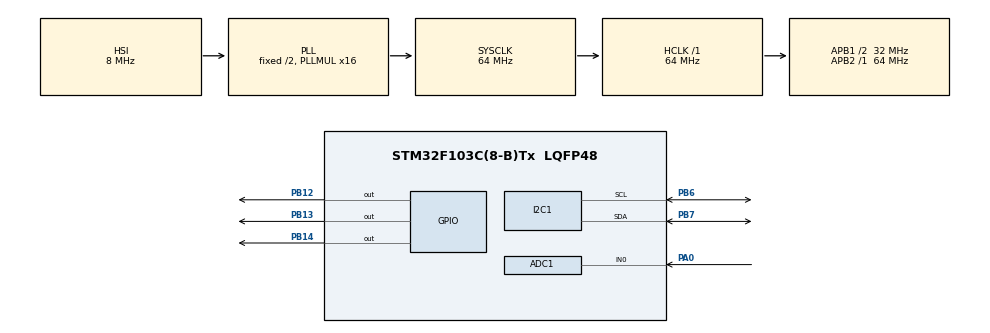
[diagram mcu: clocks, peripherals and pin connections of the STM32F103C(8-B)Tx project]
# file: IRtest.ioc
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ADC1.Channel-1\#ChannelRegularConversion=ADC_CHANNEL_0
ADC1.NbrOfConversionFlag=1
ADC1.Rank-1\#ChannelRegularConversion=1
ADC1.SamplingTime-1\#ChannelRegularConversion=ADC_SAMPLETIME_239CYCLES_5
ADC1.master=1
Mcu.Family=STM32F1
Mcu.Name=STM32F103C(8-B)Tx
Mcu.Package=LQFP48
NVIC.PriorityGroup=NVIC_PRIORITYGROUP_4
PA0-WKUP.Signal=ADCx_IN0
PA13.Mode=Serial_Wire
PA13.Signal=SYS_JTMS-SWDIO
PA14.Mode=Serial_Wire
PA14.Signal=SYS_JTCK-SWCLK
PB12.Signal=GPIO_Output
PB13.Signal=GPIO_Output
PB14.Signal=GPIO_Output
PB6.Mode=I2C
PB6.Signal=I2C1_SCL
PB7.Mode=I2C
PB7.Signal=I2C1_SDA
ProjectManager.HeapSize=0x200
ProjectManager.StackSize=0x400
ProjectManager.TargetToolchain=MDK-ARM V5.32
RCC.ADCPresc=RCC_ADCPCLK2_DIV6
RCC.AHBFreq_Value=64000000
RCC.APB1CLKDivider=RCC_HCLK_DIV2
RCC.APB1Freq_Value=32000000
RCC.APB1TimFreq_Value=64000000
RCC.APB2Freq_Value=64000000
RCC.APB2TimFreq_Value=64000000
RCC.HCLKFreq_Value=64000000
RCC.PLLMUL=RCC_PLL_MUL16
RCC.SYSCLKFreq_VALUE=64000000
RCC.SYSCLKSource=RCC_SYSCLKSOURCE_PLLCLK
RCC.USBFreq_Value=64000000
SH.ADCx_IN0.0=ADC1_IN0,IN0
board=custom

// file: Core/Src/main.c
/* USER CODE BEGIN Header */
/**
  ******************************************************************************
  * @file           : main.c
  * @brief          : Main program body
  ******************************************************************************
  * @attention
  * Copyright (c) 2025 STMicroelectronics.
  * All rights reserved.
  * This software is licensed under terms in the LICENSE file
  * in the root directory of this software component.
  * If no LICENSE file comes with this software, it is provided AS-IS.
  ******************************************************************************
  */
/* USER CODE END Header */
#include "main.h"

/* USER CODE BEGIN Includes */
#include <string.h>
#include "liquidcrystal_i2c.h"   // <-- use your added driver
/* USER CODE END Includes */

/* USER CODE BEGIN PTD */
typedef enum { BAND_LONG = 0, BAND_MID, BAND_SHORT } DistanceBand;
/* USER CODE END PTD */

/* USER CODE BEGIN PD */
// -------- LED pins --------
#define LED_GREEN_PIN   GPIO_PIN_12
#define LED_YELLOW_PIN  GPIO_PIN_13
#define LED_RED_PIN     GPIO_PIN_14
#define LED_PORT        GPIOB

// -------- Moving average --------
#define SAMPLES 16

// -------- Thresholds (replace with your measured ADC counts) --------
// Example placeholders (12-bit ADC: 0..4095)
static uint16_t ADC_25CM = 900;     // ~25 cm (far)   -> LONG
static uint16_t ADC_10CM = 1800;    // ~10 cm         -> MID
static uint16_t ADC_5CM  = 2600;    // ~5  cm         -> SHORT (and closer)

// Small band hysteresis to reduce bouncing around boundaries
#define HYST 40
/* USER CODE END PD */

/* USER CODE BEGIN PM */
static inline void set_leds(uint8_t g, uint8_t y, uint8_t r) {
  HAL_GPIO_WritePin(LED_PORT, LED_GREEN_PIN,  g ? GPIO_PIN_SET : GPIO_PIN_RESET);
  HAL_GPIO_WritePin(LED_PORT, LED_YELLOW_PIN, y ? GPIO_PIN_SET : GPIO_PIN_RESET);
  HAL_GPIO_WritePin(LED_PORT, LED_RED_PIN,    r ? GPIO_PIN_SET : GPIO_PIN_RESET);
}
/* USER CODE END PM */

ADC_HandleTypeDef hadc1;
I2C_HandleTypeDef hi2c1;

/* USER CODE BEGIN PV */
static DistanceBand prev_band = (DistanceBand)(-1);  // force first update
/* USER CODE END PV */

void SystemClock_Config(void);
static void MX_GPIO_Init(void);
static void MX_ADC1_Init(void);
static void MX_I2C1_Init(void);
/* USER CODE BEGIN PFP */
static uint16_t ReadADC1_PA0(void);
static uint16_t moving_avg(void);
static DistanceBand decide_band(uint16_t adc, DistanceBand last);
/* USER CODE END PFP */

/* USER CODE BEGIN 0 */
static uint16_t ReadADC1_PA0(void) {
  HAL_ADC_Start(&hadc1);
  if (HAL_ADC_PollForConversion(&hadc1, 10) == HAL_OK) {
    uint16_t v = (uint16_t)HAL_ADC_GetValue(&hadc1);
    HAL_ADC_Stop(&hadc1);
    return v;
  }
  HAL_ADC_Stop(&hadc1);
  return 0;
}

static uint16_t moving_avg(void) {
  uint32_t sum = 0;
  for (int i = 0; i < SAMPLES; i++) sum += ReadADC1_PA0();
  return (uint16_t)(sum / SAMPLES);
}

// Add light hysteresis so the label/LEDs don’t chatter near thresholds
static DistanceBand decide_band(uint16_t adc, DistanceBand last) {
  // lower ADC ˜ farther
  switch (last) {
    case BAND_LONG:
      if (adc >= (ADC_25CM + HYST)) return BAND_MID;
      return BAND_LONG;
    case BAND_MID:
      if (adc <  (ADC_25CM - HYST)) return BAND_LONG;
      if (adc >= (ADC_10CM + HYST)) return BAND_SHORT;
      return BAND_MID;
    case BAND_SHORT:
    default:
      if (adc < (ADC_10CM - HYST)) return BAND_MID;
      return BAND_SHORT;
  }
}
/* USER CODE END 0 */

int main(void)
{
  HAL_Init();
  SystemClock_Config();
  MX_GPIO_Init();
  MX_ADC1_Init();
  MX_I2C1_Init();

  /* USER CODE BEGIN 2 */
  HAL_ADCEx_Calibration_Start(&hadc1);

  // LCD init: your driver takes rows count
  HD44780_Init(2);
  HD44780_Clear();
  HD44780_SetCursor(0,0); HD44780_PrintStr("IR Distance");
  HD44780_SetCursor(0,1); HD44780_PrintStr("Starting...");
  set_leds(1,1,1); HAL_Delay(400); set_leds(0,0,0);
  /* USER CODE END 2 */

  /* Infinite loop */
  while (1)
  {
    uint16_t adc = moving_avg();
    DistanceBand band = decide_band(adc, prev_band);

    if (band != prev_band) {
      prev_band = band;

      // Update LEDs
      if (band == BAND_LONG)      set_leds(1,0,0);
      else if (band == BAND_MID)  set_leds(0,1,0);
      else                        set_leds(0,0,1);

      // Update LCD (only when band changes to avoid flicker)
      HD44780_Clear();
      HD44780_SetCursor(0,0); HD44780_PrintStr("Distance:");
      HD44780_SetCursor(0,1);
      if (band == BAND_LONG)      HD44780_PrintStr("LONG   (>25cm)");
      else if (band == BAND_MID)  HD44780_PrintStr("MID  (10-25cm)");
      else                        HD44780_PrintStr("SHORT (<=10cm)");
    }

    HAL_Delay(120); // ~8 Hz loop
  }
}

void SystemClock_Config(void)
{
  RCC_OscInitTypeDef RCC_OscInitStruct = {0};
  RCC_ClkInitTypeDef RCC_ClkInitStruct = {0};
  RCC_PeriphCLKInitTypeDef PeriphClkInit = {0};

  RCC_OscInitStruct.OscillatorType = RCC_OSCILLATORTYPE_HSI;
  RCC_OscInitStruct.HSIState = RCC_HSI_ON;
  RCC_OscInitStruct.HSICalibrationValue = RCC_HSICALIBRATION_DEFAULT;
  RCC_OscInitStruct.PLL.PLLState = RCC_PLL_ON;
  RCC_OscInitStruct.PLL.PLLSource = RCC_PLLSOURCE_HSI_DIV2;
  RCC_OscInitStruct.PLL.PLLMUL = RCC_PLL_MUL16;
  if (HAL_RCC_OscConfig(&RCC_OscInitStruct) != HAL_OK) { Error_Handler(); }

  RCC_ClkInitStruct.ClockType = RCC_CLOCKTYPE_HCLK|RCC_CLOCKTYPE_SYSCLK
                              |RCC_CLOCKTYPE_PCLK1|RCC_CLOCKTYPE_PCLK2;
  RCC_ClkInitStruct.SYSCLKSource = RCC_SYSCLKSOURCE_PLLCLK; // 64 MHz
  RCC_ClkInitStruct.AHBCLKDivider = RCC_SYSCLK_DIV1;
  RCC_ClkInitStruct.APB1CLKDivider = RCC_HCLK_DIV2; // <= 36 MHz
  RCC_ClkInitStruct.APB2CLKDivider = RCC_HCLK_DIV1;
  if (HAL_RCC_ClockConfig(&RCC_ClkInitStruct, FLASH_LATENCY_2) != HAL_OK) { Error_Handler(); }

  // ADC clock <= 14 MHz ? APB2/6
  PeriphClkInit.PeriphClockSelection = RCC_PERIPHCLK_ADC;
  PeriphClkInit.AdcClockSelection = RCC_ADCPCLK2_DIV6;
  if (HAL_RCCEx_PeriphCLKConfig(&PeriphClkInit) != HAL_OK) { Error_Handler(); }
}

static void MX_ADC1_Init(void)
{
  ADC_ChannelConfTypeDef sConfig = {0};

  hadc1.Instance = ADC1;
  hadc1.Init.ScanConvMode = ADC_SCAN_DISABLE;
  hadc1.Init.ContinuousConvMode = DISABLE;
  hadc1.Init.DiscontinuousConvMode = DISABLE;
  hadc1.Init.ExternalTrigConv = ADC_SOFTWARE_START;
  hadc1.Init.DataAlign = ADC_DATAALIGN_RIGHT;
  hadc1.Init.NbrOfConversion = 1;
  if (HAL_ADC_Init(&hadc1) != HAL_OK) { Error_Handler(); }

  sConfig.Channel = ADC_CHANNEL_0;                   // PA0
  sConfig.Rank = ADC_REGULAR_RANK_1;
  sConfig.SamplingTime = ADC_SAMPLETIME_239CYCLES_5; // stable for AO
  if (HAL_ADC_ConfigChannel(&hadc1, &sConfig) != HAL_OK) { Error_Handler(); }
}

static void MX_I2C1_Init(void)
{
  hi2c1.Instance = I2C1;
  hi2c1.Init.ClockSpeed = 100000;
  hi2c1.Init.DutyCycle = I2C_DUTYCYCLE_2;
  hi2c1.Init.OwnAddress1 = 0;
  hi2c1.Init.AddressingMode = I2C_ADDRESSINGMODE_7BIT;
  hi2c1.Init.DualAddressMode = I2C_DUALADDRESS_DISABLE;
  hi2c1.Init.OwnAddress2 = 0;
  hi2c1.Init.GeneralCallMode = I2C_GENERALCALL_DISABLE;
  hi2c1.Init.NoStretchMode = I2C_NOSTRETCH_DISABLE;
  if (HAL_I2C_Init(&hi2c1) != HAL_OK) { Error_Handler(); }
}

static void MX_GPIO_Init(void)
{
  GPIO_InitTypeDef GPIO_InitStruct = {0};

  __HAL_RCC_GPIOA_CLK_ENABLE();
  __HAL_RCC_GPIOB_CLK_ENABLE();

  // LED outputs PB12, PB13, PB14
  HAL_GPIO_WritePin(GPIOB, LED_GREEN_PIN|LED_YELLOW_PIN|LED_RED_PIN, GPIO_PIN_RESET);
  GPIO_InitStruct.Pin = LED_GREEN_PIN|LED_YELLOW_PIN|LED_RED_PIN;
  GPIO_InitStruct.Mode = GPIO_MODE_OUTPUT_PP;
  GPIO_InitStruct.Pull = GPIO_NOPULL;
  GPIO_InitStruct.Speed = GPIO_SPEED_FREQ_LOW;
  HAL_GPIO_Init(GPIOB, &GPIO_InitStruct);

  // Note: PB6/PB7 get configured by HAL_I2C_MspInit (generated by CubeMX) as AF_OD + pull-ups.
}

void Error_Handler(void)
{
  __disable_irq();
  while (1) { }
}
